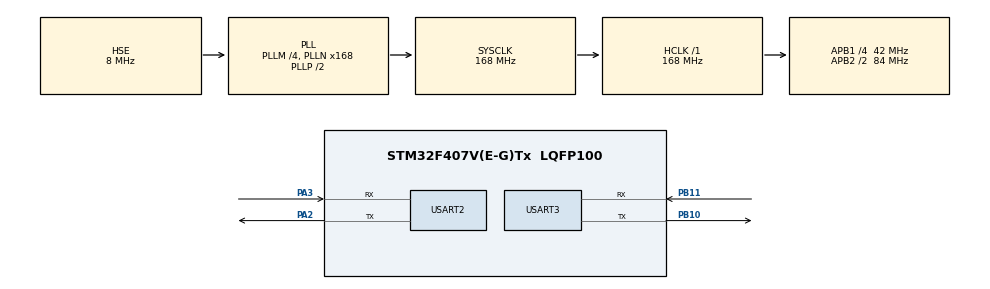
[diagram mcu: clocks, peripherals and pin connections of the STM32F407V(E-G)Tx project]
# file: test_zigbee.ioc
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Mcu.Family=STM32F4
Mcu.Name=STM32F407V(E-G)Tx
Mcu.Package=LQFP100
NVIC.PriorityGroup=NVIC_PRIORITYGROUP_4
NVIC.USART2_IRQn=true\:0\:0\:false\:false\:true\:true\:true\:true
NVIC.USART3_IRQn=true\:0\:0\:false\:false\:true\:true\:true\:true
PA13.Mode=Serial_Wire
PA13.Signal=SYS_JTMS-SWDIO
PA14.Mode=Serial_Wire
PA14.Signal=SYS_JTCK-SWCLK
PA2.Mode=Asynchronous
PA2.Signal=USART2_TX
PA3.Mode=Asynchronous
PA3.Signal=USART2_RX
PB10.Mode=Asynchronous
PB10.Signal=USART3_TX
PB11.Mode=Asynchronous
PB11.Signal=USART3_RX
PH0-OSC_IN.Mode=HSE-External-Oscillator
PH0-OSC_IN.Signal=RCC_OSC_IN
PH1-OSC_OUT.Mode=HSE-External-Oscillator
PH1-OSC_OUT.Signal=RCC_OSC_OUT
ProjectManager.HeapSize=0x200
ProjectManager.StackSize=0x400
ProjectManager.TargetToolchain=STM32CubeIDE
RCC.48MHZClocksFreq_Value=84000000
RCC.AHBFreq_Value=168000000
RCC.APB1CLKDivider=RCC_HCLK_DIV4
RCC.APB1Freq_Value=42000000
RCC.APB1TimFreq_Value=84000000
RCC.APB2CLKDivider=RCC_HCLK_DIV2
RCC.APB2Freq_Value=84000000
RCC.APB2TimFreq_Value=168000000
RCC.CortexFreq_Value=168000000
RCC.HCLKFreq_Value=168000000
RCC.HSE_VALUE=8000000
RCC.HSI_VALUE=16000000
RCC.LSE_VALUE=32768
RCC.PLLM=4
RCC.PLLN=168
RCC.PLLSourceVirtual=RCC_PLLSOURCE_HSE
RCC.SYSCLKFreq_VALUE=168000000
RCC.SYSCLKSource=RCC_SYSCLKSOURCE_PLLCLK
RCC.VCOOutputFreq_Value=336000000
USART2.VirtualMode=VM_ASYNC
USART3.VirtualMode=VM_ASYNC
board=custom

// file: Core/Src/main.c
/* USER CODE BEGIN Header */
/**
  ******************************************************************************
  * @file           : main.c
  * @brief          : Main program body
  ******************************************************************************
  * @attention
  *
  * Copyright (c) 2026 STMicroelectronics.
  * All rights reserved.
  *
  * This software is licensed under terms that can be found in the LICENSE file
  * in the root directory of this software component.
  * If no LICENSE file comes with this software, it is provided AS-IS.
  *
  ******************************************************************************
  */
/* USER CODE END Header */
#include "main.h"

UART_HandleTypeDef huart2;
UART_HandleTypeDef huart3;

/* USER CODE BEGIN PV */
// Variables pour le Zigbee (sur UART2 maintenant)
uint8_t rx_zigbee_byte;       // L'octet reçu
char zigbee_buffer[64];       // Le tampon de stockage
volatile uint8_t zigbee_idx = 0; // L'index (j'ai corrigé le nom pour être cohérent)
/* USER CODE END PV */

void SystemClock_Config(void);
static void MX_GPIO_Init(void);
static void MX_USART2_UART_Init(void);
static void MX_USART3_UART_Init(void);

/* USER CODE BEGIN 4 */
void HAL_UART_RxCpltCallback(UART_HandleTypeDef *huart)
{
    // --- ZIGBEE EST MAINTENANT SUR USART2 ---
    if (huart->Instance == USART2) {

        // 1. Stocker l'octet dans le buffer
        if (zigbee_idx < 63) {
            zigbee_buffer[zigbee_idx++] = rx_zigbee_byte;
        }

        // 2. Vérifier la fin de ligne (Le capteur doit envoyer '\n')
        if (rx_zigbee_byte == '\n') {
            zigbee_buffer[zigbee_idx] = '\0'; // Fermer la chaîne de caractères (String)

            // 3. LOGIQUE DE RELAIS : Envoyer ce qu'on a reçu vers le Bluetooth (UART3)
            // Format du message : "SENS: [Données reçues]"
            char relay_msg[100];
            // On utilise sprintf pour formater proprement
            sprintf(relay_msg, "RELAY(UART3): %s", zigbee_buffer);

            // Envoi sur UART3 (Bluetooth)
            HAL_UART_Transmit(&huart3, (uint8_t*)relay_msg, strlen(relay_msg), 100);

            // 4. Remettre le buffer à zéro pour la prochaine fois
            zigbee_idx = 0;
        }

        // 5. IMPORTANT : Réarmer l'écoute sur UART2 (Zigbee)
        HAL_UART_Receive_IT(&huart2, &rx_zigbee_byte, 1);
    }
}
/* USER CODE END 4 */
int main(void)
{

  /* MCU Configuration--------------------------------------------------------*/

  /* Reset of all peripherals, Initializes the Flash interface and the Systick. */
  HAL_Init();

  /* Configure the system clock */
  SystemClock_Config();

  /* Initialize all configured peripherals */
  MX_GPIO_Init();
  MX_USART2_UART_Init();
  MX_USART3_UART_Init();
  /* USER CODE BEGIN 2 */
  // Démarrer l'écoute du Zigbee sur l'UART2
  HAL_UART_Receive_IT(&huart2, &rx_zigbee_byte, 1);
  /* USER CODE END 2 */
  /* USER CODE END 2 */
  HAL_UART_Transmit(
      &huart3,
      (uint8_t *)"RELAY(UART3):",
      strlen("RELAY(UART3):"),
      100
  );

  /* Infinite loop */
  while (1)
  {

  }
}

void SystemClock_Config(void)
{
  RCC_OscInitTypeDef RCC_OscInitStruct = {0};
  RCC_ClkInitTypeDef RCC_ClkInitStruct = {0};

  /** Configure the main internal regulator output voltage
  */
  __HAL_RCC_PWR_CLK_ENABLE();
  __HAL_PWR_VOLTAGESCALING_CONFIG(PWR_REGULATOR_VOLTAGE_SCALE1);

  /** Initializes the RCC Oscillators according to the specified parameters
  * in the RCC_OscInitTypeDef structure.
  */
  RCC_OscInitStruct.OscillatorType = RCC_OSCILLATORTYPE_HSE;
  RCC_OscInitStruct.HSEState = RCC_HSE_ON;
  RCC_OscInitStruct.PLL.PLLState = RCC_PLL_ON;
  RCC_OscInitStruct.PLL.PLLSource = RCC_PLLSOURCE_HSE;
  RCC_OscInitStruct.PLL.PLLM = 4;
  RCC_OscInitStruct.PLL.PLLN = 168;
  RCC_OscInitStruct.PLL.PLLP = RCC_PLLP_DIV2;
  RCC_OscInitStruct.PLL.PLLQ = 4;
  if (HAL_RCC_OscConfig(&RCC_OscInitStruct) != HAL_OK)
  {
    Error_Handler();
  }

  /** Initializes the CPU, AHB and APB buses clocks
  */
  RCC_ClkInitStruct.ClockType = RCC_CLOCKTYPE_HCLK|RCC_CLOCKTYPE_SYSCLK
                              |RCC_CLOCKTYPE_PCLK1|RCC_CLOCKTYPE_PCLK2;
  RCC_ClkInitStruct.SYSCLKSource = RCC_SYSCLKSOURCE_PLLCLK;
  RCC_ClkInitStruct.AHBCLKDivider = RCC_SYSCLK_DIV1;
  RCC_ClkInitStruct.APB1CLKDivider = RCC_HCLK_DIV4;
  RCC_ClkInitStruct.APB2CLKDivider = RCC_HCLK_DIV2;

  if (HAL_RCC_ClockConfig(&RCC_ClkInitStruct, FLASH_LATENCY_5) != HAL_OK)
  {
    Error_Handler();
  }
}

static void MX_USART2_UART_Init(void)
{

  huart2.Instance = USART2;
  huart2.Init.BaudRate = 115200;
  huart2.Init.WordLength = UART_WORDLENGTH_8B;
  huart2.Init.StopBits = UART_STOPBITS_1;
  huart2.Init.Parity = UART_PARITY_NONE;
  huart2.Init.Mode = UART_MODE_TX_RX;
  huart2.Init.HwFlowCtl = UART_HWCONTROL_NONE;
  huart2.Init.OverSampling = UART_OVERSAMPLING_16;
  if (HAL_UART_Init(&huart2) != HAL_OK)
  {
    Error_Handler();
  }

}

static void MX_USART3_UART_Init(void)
{

  huart3.Instance = USART3;
  huart3.Init.BaudRate = 115200;
  huart3.Init.WordLength = UART_WORDLENGTH_8B;
  huart3.Init.StopBits = UART_STOPBITS_1;
  huart3.Init.Parity = UART_PARITY_NONE;
  huart3.Init.Mode = UART_MODE_TX_RX;
  huart3.Init.HwFlowCtl = UART_HWCONTROL_NONE;
  huart3.Init.OverSampling = UART_OVERSAMPLING_16;
  if (HAL_UART_Init(&huart3) != HAL_OK)
  {
    Error_Handler();
  }

}

static void MX_GPIO_Init(void)
{

  /* GPIO Ports Clock Enable */
  __HAL_RCC_GPIOH_CLK_ENABLE();
  __HAL_RCC_GPIOA_CLK_ENABLE();
  __HAL_RCC_GPIOB_CLK_ENABLE();

}

void Error_Handler(void)
{
  __disable_irq();
  while (1)
  {
  }
}
